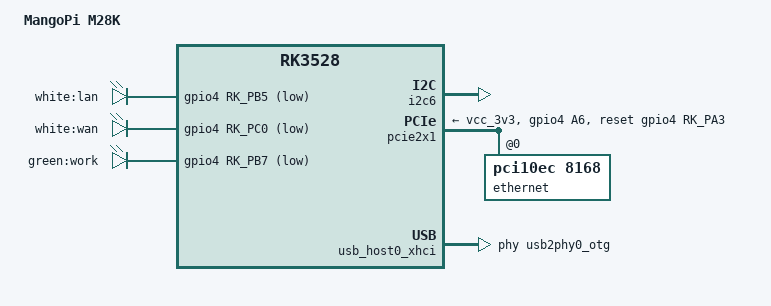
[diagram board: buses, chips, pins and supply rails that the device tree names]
// SPDX-License-Identifier: (GPL-2.0+ OR MIT)
// Copyright (c) 2024 AY <amadeus@jmu.edu.cn>

/dts-v1/;

#include "rk3528-mangopi-m28.dtsi"

/ {
	model = "MangoPi M28K";
	compatible = "widora,mangopi-m28k", "rockchip,rk3528";

	aliases {
		led-boot = &led_work;
		led-failsafe = &led_work;
		led-running = &led_work;
		led-upgrade = &led_work;
	};

	leds {
		compatible = "gpio-leds";
		pinctrl-names = "default";
		pinctrl-0 = <&lan_led_en>, <&wan_led_en>, <&work_led_en>;

		lan {
			label = "white:lan";
			gpios = <&gpio4 RK_PB5 GPIO_ACTIVE_LOW>;
		};

		wan {
			label = "white:wan";
			gpios = <&gpio4 RK_PC0 GPIO_ACTIVE_LOW>;
		};

		led_work: work {
			label = "green:work";
			gpios = <&gpio4 RK_PB7 GPIO_ACTIVE_LOW>;
		};
	};
};

&i2c6 {
	status = "okay";
};

&pcie2x1 {
	pinctrl-names = "default";
	pinctrl-0 = <&rtl8111_isolate>;
	reset-gpios = <&gpio4 RK_PA3 GPIO_ACTIVE_HIGH>;
	vpcie3v3-supply = <&vcc_3v3>;
	status = "okay";

	bridge@0,0 {
		reg = <0x00000000 0 0 0 0>;
		#address-cells = <3>;
		#size-cells = <2>;
		ranges;

		ethernet@0,0 {
			compatible = "pci10ec,8168";
			reg = <0x000000 0 0 0 0>;
			realtek,led-data = <0xf70>;
		};
	};
};

&pinctrl {
	pcie {
		rtl8111_isolate: rtl8111-isolate {
			rockchip,pins = <4 RK_PA6 RK_FUNC_GPIO &pcfg_pull_up>;
		};
	};
};

&uart3 {
	pinctrl-names = "default";
	pinctrl-0 = <&uart3m0_xfer>;
	status = "disabled";
};

&usb_host0_xhci {
	maximum-speed = "high-speed";
	phys = <&usb2phy0_otg>;
	phy-names = "usb2-phy";
};
